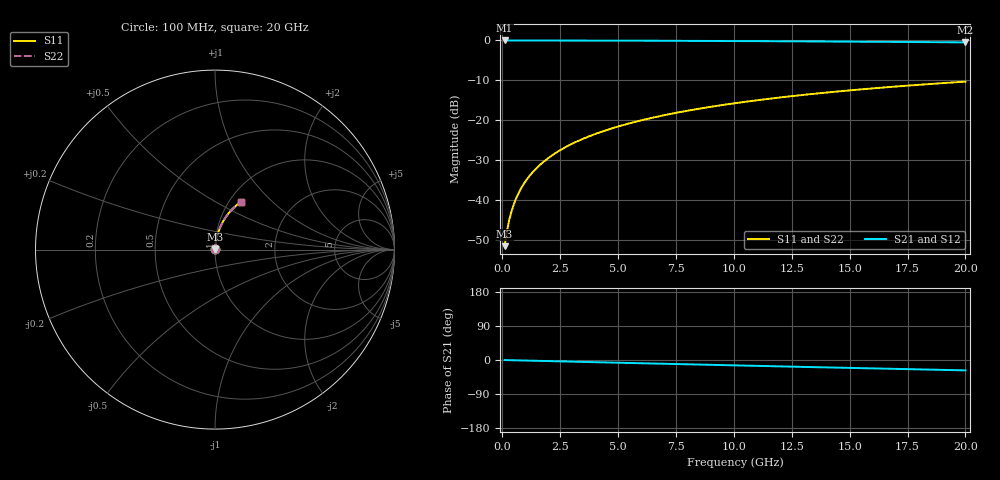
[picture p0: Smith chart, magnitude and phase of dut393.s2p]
! Touchstone file exported from HFSS 2026.1.0
!  File:  C:/ffzhzh/LocalFiles/Ansys_Project_Files/temp_train_TMRDL_393_1783004766_4048.aedt
!  Generated:  11:07:29 PM Jul  2, 2026
!  Design:  TMRDL
!  Project:  temp_train_TMRDL_393_1783004766_4048
! Variables:
!  h_bsmrdl = 2um
!  h_ox = 20um
!  h_rdl = 5um
!  h_sub = 80um
!  h_tmrdl = 3.55um
!  h_tsv = 80um
!  h_via = 3um
!  l_bsmrdl = 300um
!  l_sub = 735.58um
!  l_tmrdl = 335.58um
!  m_sub = 200um
!  pitch = 52.69um
!  r_tsv = 6um
!  s_tmrdl = 10um
!  w_bsmrdl = 18um
!  w_sub = 500um
!  w_tmrdl = 18.67um
!  x_tsv_center1 = 344.915um
!  x_tsv_center2 = 662.915um
!  x_tsv_center3 = 1017.165um
!  x_tsv_center4 = 1335.165um
!  x_tsv_center5 = 1689.415um
!  x_tsv_center6 = 2007.415um
# GHz S MA R 50.000000
! Terminal data exported
! Port[1] = TM_RDL1_1_T1
! Port[2] = TM_RDL1_1_T2
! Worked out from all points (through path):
!   200 points, 100 MHz to 20 GHz, reference 50 ohm
!   highest |S21| = -0.02 dB at 100 MHz (marker M1); lowest = -0.5 dB at 20 GHz (marker M2)
!   group delay of S21, straight-line fit = 3.8 ps
!   lowest |S11| = -51.5 dB at 100 MHz (marker M3), VSWR 1.01, Z = 50.2 + j0.18 ohm
!   |S11| at or under -10 dB: start of sweep to end of sweep
!   |S22| runs from -51.5 to -10.3 dB; largest |S21 - S12| = 4e-15
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0.1  0.00267 42.1  0.998 -0.2  0.998 -0.2  0.00267 42.1
! Gamma 0 0 0 0
! Port Impedance 50 0 50 0
0.2  0.004106 60.0  0.998 -0.3  0.998 -0.3  0.004106 60.0
0.3  0.005703 67.9  0.9979 -0.4  0.9979 -0.4  0.005703 67.9
0.4  0.007335 72.2  0.9978 -0.6  0.9978 -0.6  0.007335 72.2
0.5  0.008977 74.9  0.9977 -0.7  0.9977 -0.7  0.008977 74.9
0.6  0.01062 76.8  0.9977 -0.9  0.9977 -0.9  0.01062 76.7
0.8  0.01393 79.2  0.9976 -1.2  0.9976 -1.2  0.01393 79.2
1.1  0.01893 81.1  0.9974 -1.6  0.9974 -1.6  0.01893 81.1
1.5  0.02562 82.2  0.9972 -2.2  0.9972 -2.2  0.02562 82.2
1.8  0.03064 82.6  0.997 -2.6  0.997 -2.6  0.03064 82.6
2.1  0.03567 82.7  0.9968 -3.0  0.9968 -3.0  0.03567 82.7
2.7  0.0457 82.6  0.9962 -3.9  0.9962 -3.9  0.0457 82.6
3.5  0.05903 82.0  0.9953 -5.0  0.9953 -5.0  0.05903 82.0
4.2  0.07062 81.3  0.9943 -6.0  0.9943 -6.0  0.07062 81.3
5  0.08376 80.4  0.993 -7.2  0.993 -7.2  0.08376 80.4
5.9  0.09841 79.3  0.9913 -8.5  0.9913 -8.5  0.09841 79.3
6.8  0.1129 78.2  0.9895 -9.7  0.9895 -9.7  0.1129 78.2
8.3  0.1367 76.2  0.9859 -11.8  0.9859 -11.8  0.1367 76.2
10.1  0.1646 73.9  0.9811 -14.3  0.9811 -14.3  0.1646 73.9
13.4  0.214 69.6  0.9707 -18.8  0.9707 -18.8  0.214 69.6
16.7  0.2609 65.4  0.9586 -23.1  0.9586 -23.1  0.2609 65.4
20  0.3049 61.3  0.9451 -27.4  0.9451 -27.4  0.3049 61.3
